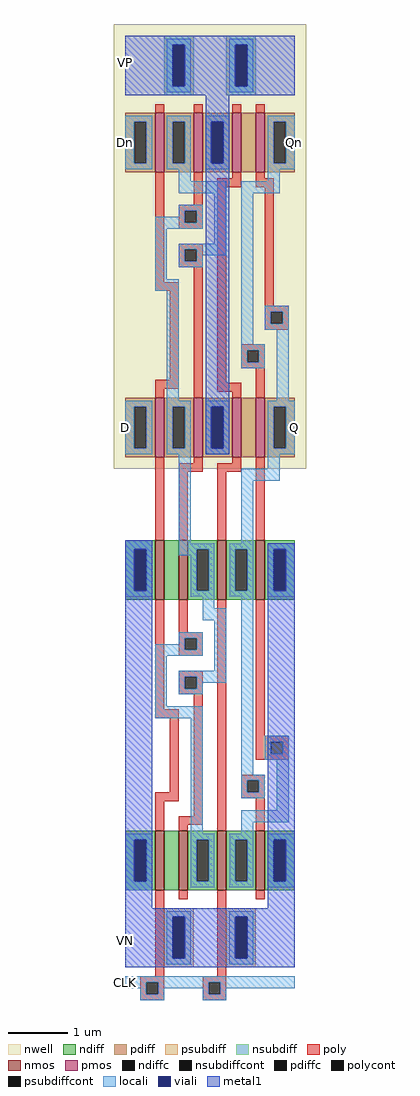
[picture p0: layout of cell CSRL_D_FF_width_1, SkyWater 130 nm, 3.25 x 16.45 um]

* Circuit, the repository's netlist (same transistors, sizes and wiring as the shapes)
* SPICE3 file created from /home/madvlsi/Documents/MADVLSI-MP2/layout/width_1_transistors/CSRL_D_FF_width_1_LVS.ext - technology: sky130A


* Top level circuit /home/madvlsi/Documents/MADVLSI-MP2/layout/width_1_transistors/CSRL_D_FF_width_1_LVS

X0 Qn Q a_290_2280# VP sky130_fd_pr__pfet_01v8 ad=5e+11p pd=3e+06u as=2.5e+11p ps=2.5e+06u w=1e+06u l=150000u
X1 a_30_840# CLK VN VN sky130_fd_pr__nfet_01v8 ad=2.5e+11p pd=2.5e+06u as=2e+12p ps=1.2e+07u w=1e+06u l=150000u
X2 VP a_30_1320# a_30_2280# VP sky130_fd_pr__pfet_01v8 ad=1e+12p pd=6e+06u as=5e+11p ps=3e+06u w=1e+06u l=150000u
X3 a_290_1320# CLK VP VP sky130_fd_pr__pfet_01v8 ad=2.5e+11p pd=2.5e+06u as=0p ps=0u w=1e+06u l=150000u
X4 VN Q Qn VN sky130_fd_pr__nfet_01v8 ad=0p pd=0u as=5e+11p ps=3e+06u w=1e+06u l=150000u
X5 a_30_1320# CLK D VP sky130_fd_pr__pfet_01v8 ad=5e+11p pd=3e+06u as=5e+11p ps=3e+06u w=1e+06u l=150000u
X6 Q CLK a_30_1320# VN sky130_fd_pr__nfet_01v8 ad=5e+11p pd=3e+06u as=5e+11p ps=3e+06u w=1e+06u l=150000u
X7 a_290_2280# CLK VP VP sky130_fd_pr__pfet_01v8 ad=0p pd=0u as=0p ps=0u w=1e+06u l=150000u
X8 Q Qn a_290_1320# VP sky130_fd_pr__pfet_01v8 ad=5e+11p pd=3e+06u as=0p ps=0u w=1e+06u l=150000u
X9 VP a_30_2280# a_30_1320# VP sky130_fd_pr__pfet_01v8 ad=0p pd=0u as=0p ps=0u w=1e+06u l=150000u
X10 a_30_2280# a_30_1320# a_30_n130# VN sky130_fd_pr__nfet_01v8 ad=5e+11p pd=3e+06u as=2.5e+11p ps=2.5e+06u w=1e+06u l=150000u
X11 a_30_2280# CLK Dn VP sky130_fd_pr__pfet_01v8 ad=0p pd=0u as=5e+11p ps=3e+06u w=1e+06u l=150000u
X12 a_30_1320# a_30_2280# a_30_840# VN sky130_fd_pr__nfet_01v8 ad=0p pd=0u as=0p ps=0u w=1e+06u l=150000u
X13 Qn CLK a_30_2280# VN sky130_fd_pr__nfet_01v8 ad=0p pd=0u as=0p ps=0u w=1e+06u l=150000u
X14 VN Qn Q VN sky130_fd_pr__nfet_01v8 ad=0p pd=0u as=0p ps=0u w=1e+06u l=150000u
X15 a_30_n130# CLK VN VN sky130_fd_pr__nfet_01v8 ad=0p pd=0u as=0p ps=0u w=1e+06u l=150000u
.end

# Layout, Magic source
magic
tech sky130A
<< nwell >>
rect -70 640 255 1390
<< nmos >>
rect 0 420 15 520
rect 40 420 55 520
rect 105 420 120 520
rect 170 420 185 520
rect 0 -70 15 30
rect 40 -70 55 30
rect 105 -70 120 30
rect 170 -70 185 30
<< pmos >>
rect 0 1140 15 1240
rect 65 1140 80 1240
rect 130 1140 145 1240
rect 170 1140 185 1240
rect 0 660 15 760
rect 65 660 80 760
rect 130 660 145 760
rect 170 660 185 760
<< ndiff >>
rect -50 505 0 520
rect -50 435 -35 505
rect -15 435 0 505
rect -50 420 0 435
rect 15 420 40 520
rect 55 505 105 520
rect 55 435 70 505
rect 90 435 105 505
rect 55 420 105 435
rect 120 505 170 520
rect 120 435 135 505
rect 155 435 170 505
rect 120 420 170 435
rect 185 505 235 520
rect 185 435 200 505
rect 220 435 235 505
rect 185 420 235 435
rect -50 15 0 30
rect -50 -55 -35 15
rect -15 -55 0 15
rect -50 -70 0 -55
rect 15 -70 40 30
rect 55 15 105 30
rect 55 -55 70 15
rect 90 -55 105 15
rect 55 -70 105 -55
rect 120 15 170 30
rect 120 -55 135 15
rect 155 -55 170 15
rect 120 -70 170 -55
rect 185 15 235 30
rect 185 -55 200 15
rect 220 -55 235 15
rect 185 -70 235 -55
<< pdiff >>
rect -50 1225 0 1240
rect -50 1155 -35 1225
rect -15 1155 0 1225
rect -50 1140 0 1155
rect 15 1225 65 1240
rect 15 1155 30 1225
rect 50 1155 65 1225
rect 15 1140 65 1155
rect 80 1225 130 1240
rect 80 1155 95 1225
rect 115 1155 130 1225
rect 80 1140 130 1155
rect 145 1140 170 1240
rect 185 1225 235 1240
rect 185 1155 200 1225
rect 220 1155 235 1225
rect 185 1140 235 1155
rect -50 745 0 760
rect -50 675 -35 745
rect -15 675 0 745
rect -50 660 0 675
rect 15 745 65 760
rect 15 675 30 745
rect 50 675 65 745
rect 15 660 65 675
rect 80 745 130 760
rect 80 675 95 745
rect 115 675 130 745
rect 80 660 130 675
rect 145 660 170 760
rect 185 745 235 760
rect 185 675 200 745
rect 220 675 235 745
rect 185 660 235 675
<< ndiffc >>
rect -35 435 -15 505
rect 70 435 90 505
rect 135 435 155 505
rect 200 435 220 505
rect -35 -55 -15 15
rect 70 -55 90 15
rect 135 -55 155 15
rect 200 -55 220 15
<< pdiffc >>
rect -35 1155 -15 1225
rect 30 1155 50 1225
rect 95 1155 115 1225
rect 200 1155 220 1225
rect -35 675 -15 745
rect 30 675 50 745
rect 95 675 115 745
rect 200 675 220 745
<< psubdiff >>
rect 15 -115 65 -100
rect 15 -185 30 -115
rect 50 -185 65 -115
rect 15 -200 65 -185
rect 120 -115 170 -100
rect 120 -185 135 -115
rect 155 -185 170 -115
rect 120 -200 170 -185
<< nsubdiff >>
rect 15 1355 65 1370
rect 15 1285 30 1355
rect 50 1285 65 1355
rect 15 1270 65 1285
rect 120 1355 170 1370
rect 120 1285 135 1355
rect 155 1285 170 1355
rect 120 1270 170 1285
<< psubdiffcont >>
rect 30 -185 50 -115
rect 135 -185 155 -115
<< nsubdiffcont >>
rect 30 1285 50 1355
rect 135 1285 155 1355
<< poly >>
rect 0 1240 15 1255
rect 65 1240 80 1255
rect 130 1240 145 1255
rect 170 1240 185 1255
rect 0 955 15 1140
rect 65 1085 80 1140
rect 130 1130 145 1140
rect 40 1075 80 1085
rect 40 1055 50 1075
rect 70 1055 80 1075
rect 40 1045 80 1055
rect 105 1115 145 1130
rect 170 1130 185 1140
rect 170 1115 200 1130
rect 40 1010 80 1020
rect 40 990 50 1010
rect 70 990 80 1010
rect 40 980 80 990
rect 0 940 40 955
rect 25 790 40 940
rect 0 775 40 790
rect 0 760 15 775
rect 65 760 80 980
rect 105 785 120 1115
rect 185 915 200 1115
rect 185 905 225 915
rect 185 885 195 905
rect 215 885 225 905
rect 185 875 225 885
rect 145 840 185 850
rect 145 820 155 840
rect 175 820 185 840
rect 145 810 185 820
rect 105 770 145 785
rect 130 760 145 770
rect 170 760 185 810
rect 0 520 15 660
rect 65 650 80 660
rect 130 650 145 660
rect 40 635 80 650
rect 105 635 145 650
rect 40 520 55 635
rect 105 520 120 635
rect 170 520 185 660
rect 0 235 15 420
rect 40 365 55 420
rect 40 355 80 365
rect 40 335 50 355
rect 70 335 80 355
rect 40 325 80 335
rect 40 290 80 300
rect 40 270 50 290
rect 70 270 80 290
rect 40 260 80 270
rect 0 220 40 235
rect 25 95 40 220
rect 0 80 40 95
rect 0 30 15 80
rect 65 55 80 260
rect 40 40 80 55
rect 40 30 55 40
rect 105 30 120 420
rect 170 190 185 420
rect 170 180 225 190
rect 170 160 195 180
rect 215 160 225 180
rect 170 150 225 160
rect 145 115 185 125
rect 145 95 155 115
rect 175 95 185 115
rect 145 85 185 95
rect 170 30 185 85
rect 0 -215 15 -70
rect 40 -85 55 -70
rect 105 -215 120 -70
rect 170 -85 185 -70
rect -25 -225 15 -215
rect -25 -245 -15 -225
rect 5 -245 15 -225
rect -25 -255 15 -245
rect 80 -225 120 -215
rect 80 -245 90 -225
rect 110 -245 120 -225
rect 80 -255 120 -245
<< polycont >>
rect 50 1055 70 1075
rect 50 990 70 1010
rect 195 885 215 905
rect 155 820 175 840
rect 50 335 70 355
rect 50 270 70 290
rect 195 160 215 180
rect 155 95 175 115
rect -15 -245 5 -225
rect 90 -245 110 -225
<< locali >>
rect 20 1355 60 1365
rect 20 1285 30 1355
rect 50 1285 60 1355
rect 20 1275 60 1285
rect 125 1355 165 1365
rect 125 1285 135 1355
rect 155 1285 165 1355
rect 125 1275 165 1285
rect -50 1225 -5 1235
rect -50 1155 -35 1225
rect -15 1155 -5 1225
rect -50 1145 -5 1155
rect 20 1225 60 1235
rect 20 1155 30 1225
rect 50 1155 60 1225
rect 20 1145 60 1155
rect 85 1225 125 1235
rect 85 1155 95 1225
rect 115 1155 125 1225
rect 85 1145 125 1155
rect 190 1225 235 1235
rect 190 1155 200 1225
rect 220 1155 235 1225
rect 190 1145 235 1155
rect 40 1125 60 1145
rect 190 1125 210 1145
rect 40 1105 120 1125
rect 40 1075 80 1085
rect 40 1065 50 1075
rect 0 1055 50 1065
rect 70 1055 80 1075
rect 0 1045 80 1055
rect 0 960 20 1045
rect 100 1020 120 1105
rect 40 1010 120 1020
rect 40 990 50 1010
rect 70 1000 120 1010
rect 145 1105 210 1125
rect 70 990 80 1000
rect 40 980 80 990
rect 0 940 40 960
rect 20 755 40 940
rect 145 850 165 1105
rect 185 905 225 915
rect 185 885 195 905
rect 215 885 225 905
rect 185 875 225 885
rect 145 840 185 850
rect 145 820 155 840
rect 175 820 185 840
rect 145 810 185 820
rect 205 755 225 875
rect -50 745 -5 755
rect -50 675 -35 745
rect -15 675 -5 745
rect -50 665 -5 675
rect 20 745 60 755
rect 20 675 30 745
rect 50 675 60 745
rect 20 665 60 675
rect 85 745 125 755
rect 85 675 95 745
rect 115 675 125 745
rect 85 665 125 675
rect 190 745 235 755
rect 190 675 200 745
rect 220 675 235 745
rect 190 665 235 675
rect -50 505 -5 520
rect -50 435 -35 505
rect -15 435 -5 505
rect 40 515 60 665
rect 190 640 210 665
rect 145 620 210 640
rect 145 515 165 620
rect 40 505 100 515
rect 40 495 70 505
rect -50 425 -5 435
rect 60 435 70 495
rect 90 435 100 505
rect 60 425 100 435
rect 125 505 165 515
rect 125 435 135 505
rect 155 435 165 505
rect 125 425 165 435
rect 190 505 235 515
rect 190 435 200 505
rect 220 435 235 505
rect 190 425 235 435
rect 80 405 100 425
rect 80 385 120 405
rect 40 355 80 365
rect 40 345 50 355
rect 0 335 50 345
rect 70 335 80 355
rect 0 325 80 335
rect 0 240 20 325
rect 100 300 120 385
rect 40 290 120 300
rect 40 270 50 290
rect 70 280 120 290
rect 70 270 80 280
rect 40 260 80 270
rect 0 220 80 240
rect 60 25 80 220
rect 145 125 165 425
rect 185 180 225 190
rect 185 160 195 180
rect 215 160 225 180
rect 185 150 225 160
rect 145 115 185 125
rect 145 95 155 115
rect 175 95 185 115
rect 145 85 185 95
rect 205 65 225 150
rect 145 45 225 65
rect 145 25 165 45
rect -50 15 -5 25
rect -50 -55 -35 15
rect -15 -55 -5 15
rect -50 -70 -5 -55
rect 60 15 100 25
rect 60 -55 70 15
rect 90 -55 100 15
rect 60 -65 100 -55
rect 125 15 165 25
rect 125 -55 135 15
rect 155 -55 165 15
rect 125 -65 165 -55
rect 190 15 235 25
rect 190 -55 200 15
rect 220 -55 235 15
rect 190 -65 235 -55
rect 20 -115 60 -105
rect 20 -185 30 -115
rect 50 -185 60 -115
rect 20 -195 60 -185
rect 125 -115 165 -105
rect 125 -185 135 -115
rect 155 -185 165 -115
rect 125 -195 165 -185
rect -50 -225 235 -215
rect -50 -235 -15 -225
rect -25 -245 -15 -235
rect 5 -235 90 -225
rect 5 -245 15 -235
rect -25 -255 15 -245
rect 80 -245 90 -235
rect 110 -235 235 -225
rect 110 -245 120 -235
rect 80 -255 120 -245
<< viali >>
rect 30 1285 50 1355
rect 135 1285 155 1355
rect 95 1155 115 1225
rect 95 675 115 745
rect -35 435 -15 505
rect 200 435 220 505
rect -35 -55 -15 15
rect 200 -55 220 15
rect 30 -185 50 -115
rect 135 -185 155 -115
<< metal1 >>
rect -50 1355 235 1370
rect -50 1285 30 1355
rect 50 1285 135 1355
rect 155 1285 235 1355
rect -50 1270 235 1285
rect 85 1225 125 1270
rect 85 1155 95 1225
rect 115 1155 125 1225
rect 85 745 125 1155
rect 85 675 95 745
rect 115 675 125 745
rect 85 665 125 675
rect -50 505 -5 520
rect -50 435 -35 505
rect -15 435 -5 505
rect -50 15 -5 435
rect -50 -55 -35 15
rect -15 -55 -5 15
rect -50 -100 -5 -55
rect 190 505 235 515
rect 190 435 200 505
rect 220 435 235 505
rect 190 15 235 435
rect 190 -55 200 15
rect 220 -55 235 15
rect 190 -100 235 -55
rect -50 -115 235 -100
rect -50 -185 30 -115
rect 50 -185 135 -115
rect 155 -185 235 -115
rect -50 -200 235 -185
<< labels >>
rlabel locali 235 710 235 710 3 Q
port 4 e
rlabel locali -50 710 -50 710 7 D
port 2 w
rlabel locali 235 1190 235 1190 3 Qn
port 3 e
rlabel locali -50 1190 -50 1190 7 Dn
port 1 w
rlabel metal1 -50 1325 -50 1325 7 VP
port 6 w
rlabel metal1 -50 -155 -50 -155 7 VN
port 7 w
rlabel locali -50 -225 -50 -225 7 CLK
port 5 w
<< end >>
